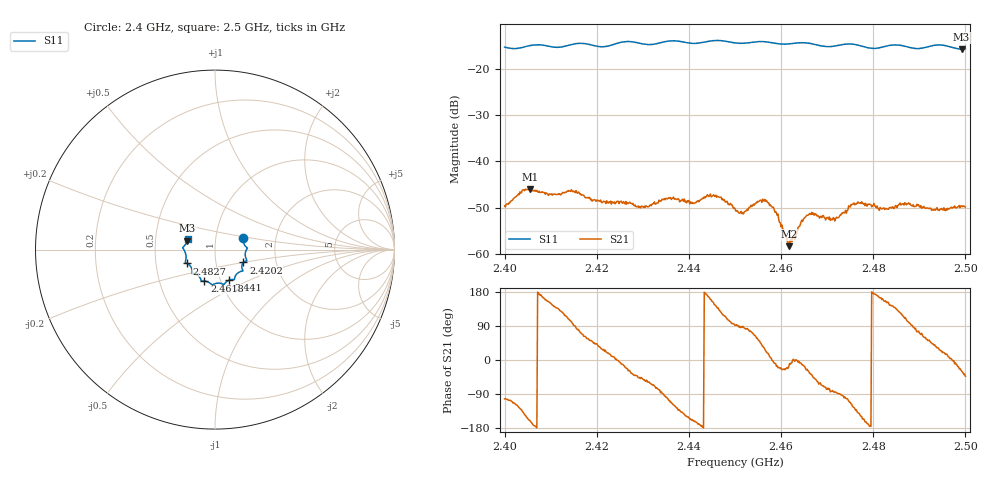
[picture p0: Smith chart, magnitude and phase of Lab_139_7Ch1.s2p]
# Hz S RI R 50
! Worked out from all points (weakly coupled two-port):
!   601 points, 2.4 GHz to 2.5 GHz, reference 50 ohm
!   highest |S21| = -45.94 dB at 2.4055 GHz (marker M1); lowest = -58.3 dB at 2.4617 GHz (marker M2)
!   lowest |S11| = -15.8 dB at 2.4992 GHz (marker M3), VSWR 1.39, Z = 36.4 + j3.67 ohm
!   |S11| at or under -10 dB: start of sweep to end of sweep
!   S12 and S22 are empty: the file has one direction only
!   S11 on the Smith chart (normalised r, x): 2.4 GHz: 1.36, +0.18; 2.4202 GHz: 1.36, -0.20; 2.441 GHz: 1.10, -0.39; 2.4618 GHz: 0.84, -0.30; 2.4827 GHz: 0.72, -0.11; 2.5 GHz: 0.73, +0.09
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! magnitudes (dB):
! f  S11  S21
! 2.4 GHz  -15.4  -49.6
! 2.4055 GHz  -15.0  -45.9
! 2.4167 GHz  -14.5  -47.3
! 2.4202 GHz  -15.2  -48.5
! 2.4297 GHz  -14.6  -49.7
! 2.4333 GHz  -14.5  -49.0
! 2.441 GHz  -14.6  -49.0
! 2.4458 GHz  -13.9  -47.3
! 2.45 GHz  -14.4  -50.1
! 2.4515 GHz  -14.5  -51.3
! 2.4568 GHz  -14.2  -48.4
! 2.4588 GHz  -14.5  -50.8
! 2.4617 GHz  -14.7  -58.3
! 2.4618 GHz  -14.6  -57.2
! 2.4648 GHz  -14.4  -52.5
! 2.4667 GHz  -14.6  -51.0
! 2.4712 GHz  -15.2  -52.6
! 2.477 GHz  -15.0  -49.0
! 2.4827 GHz  -15.2  -50.1
! 2.4833 GHz  -15.0  -50.3
! 2.4992 GHz  -15.8  -49.6
! 2.5 GHz  -15.7  -49.9
